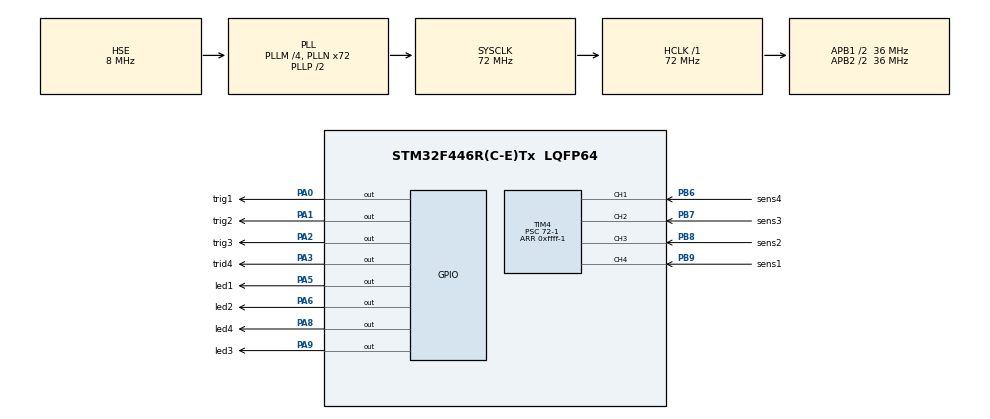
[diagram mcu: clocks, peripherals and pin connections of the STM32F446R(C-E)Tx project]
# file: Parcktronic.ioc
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Mcu.Family=STM32F4
Mcu.Name=STM32F446R(C-E)Tx
Mcu.Package=LQFP64
NVIC.PriorityGroup=NVIC_PRIORITYGROUP_4
PA0-WKUP.GPIO_Label=trig1
PA0-WKUP.Signal=GPIO_Output
PA1.GPIO_Label=trig2
PA1.Signal=GPIO_Output
PA2.GPIO_Label=trig3
PA2.Signal=GPIO_Output
PA3.GPIO_Label=trid4
PA3.Signal=GPIO_Output
PA5.GPIO_Label=led1
PA5.Signal=GPIO_Output
PA6.GPIO_Label=led2
PA6.Signal=GPIO_Output
PA8.GPIO_Label=led4
PA8.Signal=GPIO_Output
PA9.GPIO_Label=led3
PA9.Signal=GPIO_Output
PB6.GPIO_Label=sens4
PB6.Signal=S_TIM4_CH1
PB7.GPIO_Label=sens3
PB7.Signal=S_TIM4_CH2
PB8.GPIO_Label=sens2
PB8.Signal=S_TIM4_CH3
PB9.GPIO_Label=sens1
PB9.Signal=S_TIM4_CH4
PH0-OSC_IN.Mode=HSE-External-Oscillator
PH0-OSC_IN.Signal=RCC_OSC_IN
PH1-OSC_OUT.Mode=HSE-External-Oscillator
PH1-OSC_OUT.Signal=RCC_OSC_OUT
ProjectManager.HeapSize=0x200
ProjectManager.StackSize=0x400
ProjectManager.TargetToolchain=TrueSTUDIO
RCC.AHBFreq_Value=72000000
RCC.APB1CLKDivider=RCC_HCLK_DIV2
RCC.APB1Freq_Value=36000000
RCC.APB1TimFreq_Value=72000000
RCC.APB2CLKDivider=RCC_HCLK_DIV2
RCC.APB2Freq_Value=36000000
RCC.APB2TimFreq_Value=72000000
RCC.CortexFreq_Value=72000000
RCC.HCLKFreq_Value=72000000
RCC.HSE_VALUE=8000000
RCC.PLLM=4
RCC.PLLN=72
RCC.PLLSourceVirtual=RCC_PLLSOURCE_HSE
RCC.SYSCLKFreq_VALUE=72000000
RCC.SYSCLKSource=RCC_SYSCLKSOURCE_PLLCLK
RCC.USBFreq_Value=72000000
RCC.VCOOutputFreq_Value=144000000
SH.S_TIM4_CH1.0=TIM4_CH1,Input_Capture1_from_TI1
SH.S_TIM4_CH2.0=TIM4_CH2,Input_Capture2_from_TI2
SH.S_TIM4_CH3.0=TIM4_CH3,Input_Capture3_from_TI3
SH.S_TIM4_CH4.0=TIM4_CH4,Input_Capture4_from_TI4
TIM1.Period=1
TIM1.Prescaler=72*2-1
TIM4.Channel-Input_Capture1_from_TI1=TIM_CHANNEL_1
TIM4.Channel-Input_Capture2_from_TI2=TIM_CHANNEL_2
TIM4.Channel-Input_Capture3_from_TI3=TIM_CHANNEL_3
TIM4.Channel-Input_Capture4_from_TI4=TIM_CHANNEL_4
TIM4.Period=0xffff-1
TIM4.Prescaler=72-1
VP_TIM1_VS_ClockSourceINT.Mode=Internal
board=custom

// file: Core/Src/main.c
/* USER CODE BEGIN Header */
/**
  ******************************************************************************
  * @file           : main.c
  * @brief          : Main program body
  ******************************************************************************
  * @attention
  *
  * <h2><center>&copy; Copyright (c) 2021 STMicroelectronics.
  * All rights reserved.</center></h2>
  *
  * This software component is licensed by ST under BSD 3-Clause license,
  * the "License"; You may not use this file except in compliance with the
  * License. You may obtain a copy of the License at:
  *                        opensource.org/licenses/BSD-3-Clause
  *
  ******************************************************************************
  */
/* USER CODE END Header */
#include "main.h"
#include "tim.h"
#include "gpio.h"

/* USER CODE BEGIN PV */
uint8_t CaptureIsOver_Flag = 0;
uint8_t TimeEllapsed_Flag = 0;
uint8_t TriggerEdge = 0;

uint32_t Difference = 0;
uint32_t IC_Val1 = 0;
uint32_t IC_Val2 = 0;

/* USER CODE END PV */

void SystemClock_Config(void);
/* USER CODE BEGIN PFP */
static void Measure_Distance(uint32_t Distance_cm, uint16_t TrigPin);

/* USER CODE END PFP */

int main(void)
{

  /* MCU Configuration--------------------------------------------------------*/

  /* Reset of all peripherals, Initializes the Flash interface and the Systick. */
  HAL_Init();

  /* Configure the system clock */
  SystemClock_Config();

  /* Initialize all configured peripherals */
  MX_GPIO_Init();
  MX_TIM1_Init();
  MX_TIM4_Init();

  /* Infinite loop */
  while (1)
  {

  }
}

void SystemClock_Config(void)
{
  RCC_OscInitTypeDef RCC_OscInitStruct = {0};
  RCC_ClkInitTypeDef RCC_ClkInitStruct = {0};

  /** Configure the main internal regulator output voltage
  */
  __HAL_RCC_PWR_CLK_ENABLE();
  __HAL_PWR_VOLTAGESCALING_CONFIG(PWR_REGULATOR_VOLTAGE_SCALE3);
  /** Initializes the RCC Oscillators according to the specified parameters
  * in the RCC_OscInitTypeDef structure.
  */
  RCC_OscInitStruct.OscillatorType = RCC_OSCILLATORTYPE_HSE;
  RCC_OscInitStruct.HSEState = RCC_HSE_ON;
  RCC_OscInitStruct.PLL.PLLState = RCC_PLL_ON;
  RCC_OscInitStruct.PLL.PLLSource = RCC_PLLSOURCE_HSE;
  RCC_OscInitStruct.PLL.PLLM = 4;
  RCC_OscInitStruct.PLL.PLLN = 72;
  RCC_OscInitStruct.PLL.PLLP = RCC_PLLP_DIV2;
  RCC_OscInitStruct.PLL.PLLQ = 2;
  RCC_OscInitStruct.PLL.PLLR = 2;
  if (HAL_RCC_OscConfig(&RCC_OscInitStruct) != HAL_OK)
  {
    Error_Handler();
  }
  /** Initializes the CPU, AHB and APB buses clocks
  */
  RCC_ClkInitStruct.ClockType = RCC_CLOCKTYPE_HCLK|RCC_CLOCKTYPE_SYSCLK
                              |RCC_CLOCKTYPE_PCLK1|RCC_CLOCKTYPE_PCLK2;
  RCC_ClkInitStruct.SYSCLKSource = RCC_SYSCLKSOURCE_PLLCLK;
  RCC_ClkInitStruct.AHBCLKDivider = RCC_SYSCLK_DIV1;
  RCC_ClkInitStruct.APB1CLKDivider = RCC_HCLK_DIV2;
  RCC_ClkInitStruct.APB2CLKDivider = RCC_HCLK_DIV2;

  if (HAL_RCC_ClockConfig(&RCC_ClkInitStruct, FLASH_LATENCY_2) != HAL_OK)
  {
    Error_Handler();
  }
}

/* USER CODE BEGIN 4 */
static void Measure_Distance(uint32_t Distance_cm, uint16_t TrigPin)
{
	HAL_GPIO_WritePin(GPIOA, TrigPin, GPIO_PIN_SET);
	HAL_TIM_Base_Start_IT(&htim1);

	HAL_TIM_IC_Start_IT(&htim4, TIM_CHANNEL_1);

	while (!TimeEllapsed_Flag)
	{
	}

	TimeEllapsed_Flag = 0;
	HAL_GPIO_WritePin(GPIOA, TrigPin, GPIO_PIN_RESET);

	while (!CaptureIsOver_Flag)
	{
	}

	CaptureIsOver_Flag = 0;
	Distance_cm = Difference / 58;

	HAL_Delay(80);
}

void HAL_TIM_PeriodElapsedCallback(TIM_HandleTypeDef *htim)
{
	UNUSED(htim);

	if (htim->Instance == TIM1)
	{
		HAL_TIM_Base_Stop_IT(htim);
		__HAL_TIM_SET_COUNTER(htim, 0);
		TimeEllapsed_Flag = 1;
	}
}

void HAL_TIM_IC_CaptureCallback(TIM_HandleTypeDef *htim)
{
	UNUSED(htim);

	if (htim->Instance == TIM4)
	{
		if (htim->Channel == HAL_TIM_ACTIVE_CHANNEL_1)
		{
			if (TriggerEdge == 0)
			{
				IC_Val1 = HAL_TIM_ReadCapturedValue(htim, TIM_CHANNEL_1);
				TriggerEdge = 1;

				__HAL_TIM_SET_CAPTUREPOLARITY(htim, TIM_CHANNEL_1,
						TIM_INPUTCHANNELPOLARITY_FALLING);
			}

			else

			{
				IC_Val2 = HAL_TIM_ReadCapturedValue(htim, TIM_CHANNEL_1);
				TriggerEdge = 0;

				if (IC_Val2 > IC_Val1)
					Difference = IC_Val2 - IC_Val1;
				else
					Error_Handler();

				__HAL_TIM_SET_COUNTER(htim, 0);
				__HAL_TIM_SET_CAPTUREPOLARITY(htim, TIM_CHANNEL_1,
						TIM_INPUTCHANNELPOLARITY_RISING);

				HAL_TIM_IC_Stop_IT(htim, TIM_CHANNEL_1);

				CaptureIsOver_Flag = 1;
			}
		}
	}
}
/* USER CODE END 4 */

void Error_Handler(void)
{
  __disable_irq();
  while (1)
  {
  }
}

/************************ (C) COPYRIGHT STMicroelectronics *****END OF FILE****/
